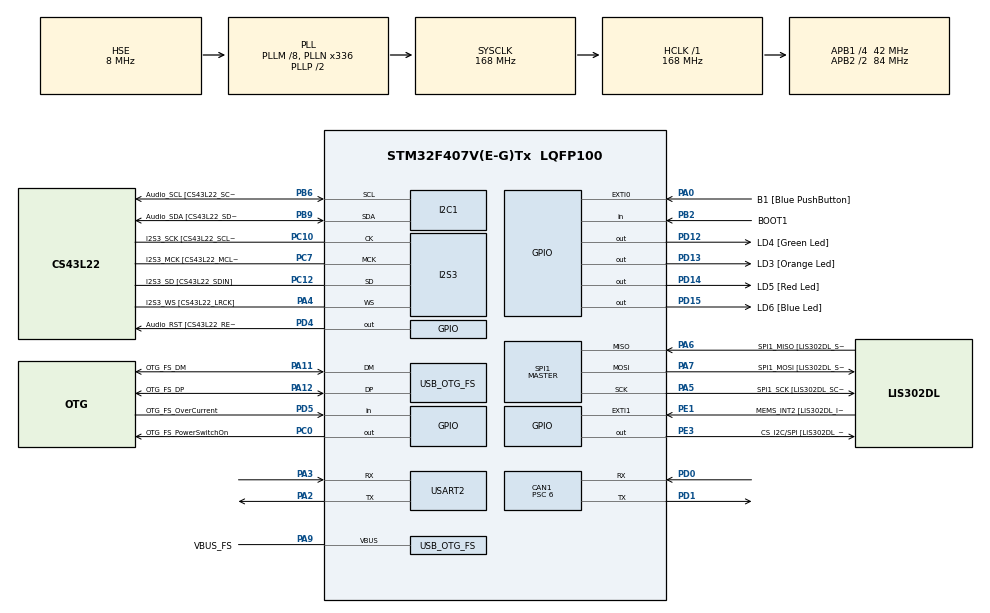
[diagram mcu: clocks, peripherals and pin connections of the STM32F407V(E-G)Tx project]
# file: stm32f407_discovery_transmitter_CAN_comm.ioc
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CAN1.BS1=CAN_BS1_11TQ
CAN1.BS2=CAN_BS2_2TQ
CAN1.CalculateBaudRate=500000
CAN1.CalculateTimeBit=2000
CAN1.CalculateTimeQuantum=142.85714285714286
CAN1.Prescaler=6
I2S3.AudioFreq-Half_Duplex_Master=I2S_AUDIOFREQ_96K
I2S3.ErrorAudioFreq=-2.34 %
I2S3.ErrorAudioFreq-Half_Duplex_Master=0.8 %
I2S3.FullDuplexMode=I2S_FULLDUPLEXMODE_DISABLE
I2S3.Instance=SPI$Index
I2S3.RealAudioFreq=93.75 KHz
I2S3.RealAudioFreq-Half_Duplex_Master=96.774 KHz
I2S3.VirtualMode=I2S_MODE_MASTER
Mcu.Family=STM32F4
Mcu.Name=STM32F407V(E-G)Tx
Mcu.Package=LQFP100
NVIC.OTG_FS_IRQn=true\:0\:0\:false\:false\:true\:true\:true\:true
NVIC.PriorityGroup=NVIC_PRIORITYGROUP_0
PA0-WKUP.GPIO_Label=B1 [Blue PushButton]
PA0-WKUP.GPIO_ModeDefaultEXTI=GPIO_MODE_EVT_RISING
PA0-WKUP.GPIO_PuPd=GPIO_NOPULL
PA0-WKUP.Signal=GPXTI0
PA10.GPIO_Label=OTG_FS_ID
PA10.GPIO_Mode=GPIO_MODE_AF_PP
PA10.GPIO_PuPd=GPIO_NOPULL
PA10.GPIO_Speed=GPIO_SPEED_FREQ_LOW
PA10.Signal=USB_OTG_FS_ID
PA11.GPIO_Label=OTG_FS_DM
PA11.GPIO_Mode=GPIO_MODE_AF_PP
PA11.GPIO_PuPd=GPIO_NOPULL
PA11.GPIO_Speed=GPIO_SPEED_FREQ_LOW
PA11.Mode=Host_Only
PA11.Signal=USB_OTG_FS_DM
PA12.GPIO_Label=OTG_FS_DP
PA12.GPIO_Mode=GPIO_MODE_AF_PP
PA12.GPIO_PuPd=GPIO_NOPULL
PA12.GPIO_Speed=GPIO_SPEED_FREQ_LOW
PA12.Mode=Host_Only
PA12.Signal=USB_OTG_FS_DP
PA13.GPIO_Label=SWDIO
PA13.Mode=Serial_Wire
PA13.Signal=SYS_JTMS-SWDIO
PA14.GPIO_Label=SWCLK
PA14.Mode=Serial_Wire
PA14.Signal=SYS_JTCK-SWCLK
PA2.Mode=Asynchronous
PA2.Signal=USART2_TX
PA3.Mode=Asynchronous
PA3.Signal=USART2_RX
PA4.GPIO_Label=I2S3_WS [CS43L22_LRCK]
PA4.GPIO_Mode=GPIO_MODE_AF_PP
PA4.GPIO_PuPd=GPIO_NOPULL
PA4.GPIO_Speed=GPIO_SPEED_FREQ_LOW
PA4.Mode=Half_Duplex_Master
PA4.Signal=I2S3_WS
PA5.GPIO_Label=SPI1_SCK [LIS302DL_SCL/SPC]
PA5.GPIO_Mode=GPIO_MODE_AF_PP
PA5.GPIO_PuPd=GPIO_NOPULL
PA5.GPIO_Speed=GPIO_SPEED_FREQ_LOW
PA5.Mode=Full_Duplex_Master
PA5.Signal=SPI1_SCK
PA6.GPIO_Label=SPI1_MISO [LIS302DL_SDO]
PA6.GPIO_Mode=GPIO_MODE_AF_PP
PA6.GPIO_PuPd=GPIO_NOPULL
PA6.GPIO_Speed=GPIO_SPEED_FREQ_LOW
PA6.Mode=Full_Duplex_Master
PA6.Signal=SPI1_MISO
PA7.GPIO_Label=SPI1_MOSI [LIS302DL_SDA/SDI/SDO]
PA7.GPIO_Mode=GPIO_MODE_AF_PP
PA7.GPIO_PuPd=GPIO_NOPULL
PA7.GPIO_Speed=GPIO_SPEED_FREQ_LOW
PA7.Mode=Full_Duplex_Master
PA7.Signal=SPI1_MOSI
PA9.GPIO_Label=VBUS_FS
PA9.GPIO_Mode=GPIO_MODE_INPUT
PA9.GPIO_PuPd=GPIO_NOPULL
PA9.Mode=Activate_VBUS
PA9.Signal=USB_OTG_FS_VBUS
PB10.GPIO_Label=CLK_IN [MP45DT02_CLK]
PB10.GPIO_Mode=GPIO_MODE_AF_PP
PB10.GPIO_PuPd=GPIO_NOPULL
PB10.GPIO_Speed=GPIO_SPEED_FREQ_LOW
PB10.Signal=I2S2_CK
PB2.GPIO_Label=BOOT1
PB2.GPIO_Mode=GPIO_MODE_INPUT
PB2.GPIO_PuPd=GPIO_NOPULL
PB2.Signal=GPIO_Input
PB3.GPIO_Label=SWO
PB3.Signal=SYS_JTDO-SWO
PB6.GPIO_Label=Audio_SCL [CS43L22_SCL]
PB6.GPIO_Mode=GPIO_MODE_AF_OD
PB6.GPIO_Pu=GPIO_PULLUP
PB6.GPIO_PuPd=GPIO_NOPULL
PB6.GPIO_Speed=GPIO_SPEED_FREQ_LOW
PB6.Mode=I2C
PB6.Signal=I2C1_SCL
PB9.GPIO_Label=Audio_SDA [CS43L22_SDA]
PB9.GPIO_Mode=GPIO_MODE_AF_OD
PB9.GPIO_Pu=GPIO_PULLUP
PB9.GPIO_PuPd=GPIO_NOPULL
PB9.GPIO_Speed=GPIO_SPEED_FREQ_LOW
PB9.Mode=I2C
PB9.Signal=I2C1_SDA
PC0.GPIO_Label=OTG_FS_PowerSwitchOn
PC0.GPIO_PuPd=GPIO_NOPULL
PC0.GPIO_Speed=GPIO_SPEED_FREQ_LOW
PC0.PinState=GPIO_PIN_SET
PC0.Signal=GPIO_Output
PC10.GPIO_Label=I2S3_SCK [CS43L22_SCLK]
PC10.GPIO_Mode=GPIO_MODE_AF_PP
PC10.GPIO_PuPd=GPIO_NOPULL
PC10.GPIO_Speed=GPIO_SPEED_FREQ_LOW
PC10.Mode=Half_Duplex_Master
PC10.Signal=I2S3_CK
PC12.GPIO_Label=I2S3_SD [CS43L22_SDIN]
PC12.GPIO_Mode=GPIO_MODE_AF_PP
PC12.GPIO_PuPd=GPIO_NOPULL
PC12.GPIO_Speed=GPIO_SPEED_FREQ_LOW
PC12.Mode=Half_Duplex_Master
PC12.Signal=I2S3_SD
PC14-OSC32_IN.GPIO_Label=PC14-OSC32_IN
PC14-OSC32_IN.Mode=LSE-External-Oscillator
PC14-OSC32_IN.Signal=RCC_OSC32_IN
PC15-OSC32_OUT.GPIO_Label=PC15-OSC32_OUT
PC15-OSC32_OUT.Mode=LSE-External-Oscillator
PC15-OSC32_OUT.Signal=RCC_OSC32_OUT
PC3.GPIO_Label=PDM_OUT [MP45DT02_DOUT]
PC3.GPIO_Mode=GPIO_MODE_AF_PP
PC3.GPIO_PuPd=GPIO_NOPULL
PC3.GPIO_Speed=GPIO_SPEED_FREQ_LOW
PC3.Signal=I2S2_SD
PC7.GPIO_Label=I2S3_MCK [CS43L22_MCLK]
PC7.GPIO_Mode=GPIO_MODE_AF_PP
PC7.GPIO_PuPd=GPIO_NOPULL
PC7.GPIO_Speed=GPIO_SPEED_FREQ_LOW
PC7.Mode=Master_Clock_Activated
PC7.Signal=I2S3_MCK
PD0.Mode=CAN_Activate
PD0.Signal=CAN1_RX
PD1.Mode=CAN_Activate
PD1.Signal=CAN1_TX
PD12.GPIO_Label=LD4 [Green Led]
PD12.GPIO_PuPd=GPIO_NOPULL
PD12.GPIO_Speed=GPIO_SPEED_FREQ_LOW
PD12.Signal=GPIO_Output
PD13.GPIO_Label=LD3 [Orange Led]
PD13.GPIO_PuPd=GPIO_NOPULL
PD13.GPIO_Speed=GPIO_SPEED_FREQ_LOW
PD13.Signal=GPIO_Output
PD14.GPIO_Label=LD5 [Red Led]
PD14.GPIO_PuPd=GPIO_NOPULL
PD14.GPIO_Speed=GPIO_SPEED_FREQ_LOW
PD14.Signal=GPIO_Output
PD15.GPIO_Label=LD6 [Blue Led]
PD15.GPIO_PuPd=GPIO_NOPULL
PD15.GPIO_Speed=GPIO_SPEED_FREQ_LOW
PD15.Signal=GPIO_Output
PD4.GPIO_Label=Audio_RST [CS43L22_RESET]
PD4.GPIO_PuPd=GPIO_NOPULL
PD4.GPIO_Speed=GPIO_SPEED_FREQ_LOW
PD4.Signal=GPIO_Output
PD5.GPIO_Label=OTG_FS_OverCurrent
PD5.GPIO_Mode=GPIO_MODE_INPUT
PD5.GPIO_PuPd=GPIO_NOPULL
PD5.Signal=GPIO_Input
PE1.GPIO_Label=MEMS_INT2 [LIS302DL_INT2]
PE1.GPIO_ModeDefaultEXTI=GPIO_MODE_EVT_RISING
PE1.GPIO_PuPd=GPIO_NOPULL
PE1.Signal=GPXTI1
PE3.GPIO_Label=CS_I2C/SPI [LIS302DL_CS_I2C/SPI]
PE3.GPIO_PuPd=GPIO_NOPULL
PE3.GPIO_Speed=GPIO_SPEED_FREQ_LOW
PE3.Signal=GPIO_Output
PH0-OSC_IN.GPIO_Label=PH0-OSC_IN
PH0-OSC_IN.Mode=HSE-External-Oscillator
PH0-OSC_IN.Signal=RCC_OSC_IN
PH1-OSC_OUT.GPIO_Label=PH1-OSC_OUT
PH1-OSC_OUT.Mode=HSE-External-Oscillator
PH1-OSC_OUT.Signal=RCC_OSC_OUT
ProjectManager.HeapSize=0x200
ProjectManager.StackSize=0x400
ProjectManager.TargetToolchain=STM32CubeIDE
RCC.48MHZClocksFreq_Value=48000000
RCC.AHBFreq_Value=168000000
RCC.APB1CLKDivider=RCC_HCLK_DIV4
RCC.APB1Freq_Value=42000000
RCC.APB1TimFreq_Value=84000000
RCC.APB2CLKDivider=RCC_HCLK_DIV2
RCC.APB2Freq_Value=84000000
RCC.APB2TimFreq_Value=168000000
RCC.CortexFreq_Value=168000000
RCC.HCLKFreq_Value=168000000
RCC.HSE_VALUE=8000000
RCC.HSI_VALUE=16000000
RCC.PLLM=8
RCC.PLLN=336
RCC.PLLQ=7
RCC.SYSCLKFreq_VALUE=168000000
RCC.SYSCLKSource=RCC_SYSCLKSOURCE_PLLCLK
RCC.VCOOutputFreq_Value=336000000
SPI1.BaudRatePrescaler-Full_Duplex_Master=SPI_BAUDRATEPRESCALER_2
SPI1.CalculateBaudRate-Full_Duplex_Master=42.0 MBits/s
SPI1.Direction=SPI_DIRECTION_2LINES
SPI1.Mode=SPI_MODE_MASTER
SPI1.Mode-Full_Duplex_Master=SPI_MODE_MASTER
SPI1.VirtualType=VM_MASTER
USART2.VirtualMode=VM_ASYNC
USB_HOST.BSP.number=1
USB_HOST.USBH_HandleTypeDef-CDC_FS=hUsbHostFS
USB_HOST.VirtualModeFS=Cdc
USB_HOST0.BSP.STBoard=false
USB_HOST0.BSP.api=Unknown
USB_HOST0.BSP.instance=PC0
USB_HOST0.BSP.ip=GPIO
USB_HOST0.BSP.mode=Output
USB_HOST0.BSP.name=Drive_VBUS_FS
USB_HOST0.BSP.solution=PC0
USB_OTG_FS.VirtualMode=Host_Only
USB_OTG_FS.phy_itface=HCD_PHY_EMBEDDED
VP_USB_HOST_VS_USB_HOST_CDC_FS.Mode=CDC_FS
board=STM32F407G-DISC1

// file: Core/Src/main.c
/* USER CODE BEGIN Header */
/**
  ******************************************************************************
  * @file           : main.c
  * @brief          : Main program body
  ******************************************************************************
  * @attention
  *
  * Copyright (c) 2026 STMicroelectronics.
  * All rights reserved.
  *
  * This software is licensed under terms that can be found in the LICENSE file
  * in the root directory of this software component.
  * If no LICENSE file comes with this software, it is provided AS-IS.
  *
  ******************************************************************************
  */
/* USER CODE END Header */
#include "main.h"
#include "usb_host.h"

/* USER CODE BEGIN Includes */
#include<stdio.h>
/* USER CODE END Includes */

CAN_HandleTypeDef hcan1;

I2C_HandleTypeDef hi2c1;

I2S_HandleTypeDef hi2s3;

SPI_HandleTypeDef hspi1;

UART_HandleTypeDef huart2;

void SystemClock_Config(void);
static void MX_GPIO_Init(void);
static void MX_I2C1_Init(void);
static void MX_I2S3_Init(void);
static void MX_SPI1_Init(void);
static void MX_CAN1_Init(void);
static void MX_USART2_UART_Init(void);
void MX_USB_HOST_Process(void);

int main(void)
{

  /* MCU Configuration--------------------------------------------------------*/

  /* Reset of all peripherals, Initializes the Flash interface and the Systick. */
  HAL_Init();

  /* Configure the system clock */
  SystemClock_Config();

  /* Initialize all configured peripherals */
  MX_GPIO_Init();
  MX_I2C1_Init();
  MX_I2S3_Init();
  MX_SPI1_Init();
  MX_USB_HOST_Init();
  MX_CAN1_Init();
  MX_USART2_UART_Init();
  /* USER CODE BEGIN 2 */
  CAN_TxHeaderTypeDef TxHeader;
  uint8_t TxData[8];
  uint32_t TxMailbox;

  CAN_FilterTypeDef sFilterConfig;

  sFilterConfig.FilterBank = 0;
  sFilterConfig.FilterMode = CAN_FILTERMODE_IDMASK;
  sFilterConfig.FilterScale = CAN_FILTERSCALE_32BIT;
  sFilterConfig.FilterIdHigh = 0x0000;
  sFilterConfig.FilterIdLow = 0x0000;
  sFilterConfig.FilterMaskIdHigh = 0x0000;
  sFilterConfig.FilterMaskIdLow = 0x0000;
  sFilterConfig.FilterFIFOAssignment = CAN_RX_FIFO0;
  sFilterConfig.FilterActivation = ENABLE;
  sFilterConfig.SlaveStartFilterBank = 14;

  HAL_CAN_ConfigFilter(&hcan1, &sFilterConfig);

  HAL_CAN_Start(&hcan1);

  printf("CAN Started Successfully\r\n");

  TxHeader.StdId = 0x123;
  TxHeader.ExtId = 0;
  TxHeader.RTR = CAN_RTR_DATA;
  TxHeader.IDE = CAN_ID_STD;
  TxHeader.DLC = 2;
  TxHeader.TransmitGlobalTime = DISABLE;
  /* USER CODE END 2 */

  /* Infinite loop */
  /* USER CODE BEGIN WHILE */
  while (1)
  {
	  printf("Sending CAN Frame 1...\r\n");
      char msg[] = "Progience";

      while (HAL_CAN_GetTxMailboxesFreeLevel(&hcan1) == 0);

      TxHeader.DLC = 8;

      if (HAL_CAN_AddTxMessage(&hcan1, &TxHeader, (uint8_t*)msg, &TxMailbox) == HAL_OK)
      {
          printf("Frame 1 Sent: Progienc\r\n");
      }
      else
      {
          printf("Frame 1 TX Failed\r\n");
      }

      HAL_Delay(5);

      while (HAL_CAN_GetTxMailboxesFreeLevel(&hcan1) == 0);

      TxHeader.DLC = 1;

      if (HAL_CAN_AddTxMessage(&hcan1, &TxHeader, (uint8_t*)&msg[8], &TxMailbox) == HAL_OK)
      {
          printf("Frame 2 Sent: e\r\n");
      }
      else
      {
          printf("Frame 2 TX Failed\r\n");
      }

      uint32_t error = HAL_CAN_GetError(&hcan1);
          if (error != HAL_CAN_ERROR_NONE)
          {
        	  printf("CAN Error: %lu\r\n", (unsigned long)error);
          }

      printf("-------------------------\r\n");

      HAL_Delay(1000);

    /* USER CODE END WHILE */
    MX_USB_HOST_Process();

  }
}

void SystemClock_Config(void)
{
  RCC_OscInitTypeDef RCC_OscInitStruct = {0};
  RCC_ClkInitTypeDef RCC_ClkInitStruct = {0};

  /** Configure the main internal regulator output voltage
  */
  __HAL_RCC_PWR_CLK_ENABLE();
  __HAL_PWR_VOLTAGESCALING_CONFIG(PWR_REGULATOR_VOLTAGE_SCALE1);

  /** Initializes the RCC Oscillators according to the specified parameters
  * in the RCC_OscInitTypeDef structure.
  */
  RCC_OscInitStruct.OscillatorType = RCC_OSCILLATORTYPE_HSE;
  RCC_OscInitStruct.HSEState = RCC_HSE_ON;
  RCC_OscInitStruct.PLL.PLLState = RCC_PLL_ON;
  RCC_OscInitStruct.PLL.PLLSource = RCC_PLLSOURCE_HSE;
  RCC_OscInitStruct.PLL.PLLM = 8;
  RCC_OscInitStruct.PLL.PLLN = 336;
  RCC_OscInitStruct.PLL.PLLP = RCC_PLLP_DIV2;
  RCC_OscInitStruct.PLL.PLLQ = 7;
  if (HAL_RCC_OscConfig(&RCC_OscInitStruct) != HAL_OK)
  {
    Error_Handler();
  }

  /** Initializes the CPU, AHB and APB buses clocks
  */
  RCC_ClkInitStruct.ClockType = RCC_CLOCKTYPE_HCLK|RCC_CLOCKTYPE_SYSCLK
                              |RCC_CLOCKTYPE_PCLK1|RCC_CLOCKTYPE_PCLK2;
  RCC_ClkInitStruct.SYSCLKSource = RCC_SYSCLKSOURCE_PLLCLK;
  RCC_ClkInitStruct.AHBCLKDivider = RCC_SYSCLK_DIV1;
  RCC_ClkInitStruct.APB1CLKDivider = RCC_HCLK_DIV4;
  RCC_ClkInitStruct.APB2CLKDivider = RCC_HCLK_DIV2;

  if (HAL_RCC_ClockConfig(&RCC_ClkInitStruct, FLASH_LATENCY_5) != HAL_OK)
  {
    Error_Handler();
  }
}

static void MX_CAN1_Init(void)
{

  hcan1.Instance = CAN1;
  hcan1.Init.Prescaler = 6;
  hcan1.Init.Mode = CAN_MODE_NORMAL;
  hcan1.Init.SyncJumpWidth = CAN_SJW_1TQ;
  hcan1.Init.TimeSeg1 = CAN_BS1_11TQ;
  hcan1.Init.TimeSeg2 = CAN_BS2_2TQ;
  hcan1.Init.TimeTriggeredMode = DISABLE;
  hcan1.Init.AutoBusOff = DISABLE;
  hcan1.Init.AutoWakeUp = DISABLE;
  hcan1.Init.AutoRetransmission = DISABLE;
  hcan1.Init.ReceiveFifoLocked = DISABLE;
  hcan1.Init.TransmitFifoPriority = DISABLE;
  if (HAL_CAN_Init(&hcan1) != HAL_OK)
  {
    Error_Handler();
  }

}

static void MX_I2C1_Init(void)
{

  hi2c1.Instance = I2C1;
  hi2c1.Init.ClockSpeed = 100000;
  hi2c1.Init.DutyCycle = I2C_DUTYCYCLE_2;
  hi2c1.Init.OwnAddress1 = 0;
  hi2c1.Init.AddressingMode = I2C_ADDRESSINGMODE_7BIT;
  hi2c1.Init.DualAddressMode = I2C_DUALADDRESS_DISABLE;
  hi2c1.Init.OwnAddress2 = 0;
  hi2c1.Init.GeneralCallMode = I2C_GENERALCALL_DISABLE;
  hi2c1.Init.NoStretchMode = I2C_NOSTRETCH_DISABLE;
  if (HAL_I2C_Init(&hi2c1) != HAL_OK)
  {
    Error_Handler();
  }

}

static void MX_I2S3_Init(void)
{

  hi2s3.Instance = SPI3;
  hi2s3.Init.Mode = I2S_MODE_MASTER_TX;
  hi2s3.Init.Standard = I2S_STANDARD_PHILIPS;
  hi2s3.Init.DataFormat = I2S_DATAFORMAT_16B;
  hi2s3.Init.MCLKOutput = I2S_MCLKOUTPUT_ENABLE;
  hi2s3.Init.AudioFreq = I2S_AUDIOFREQ_96K;
  hi2s3.Init.CPOL = I2S_CPOL_LOW;
  hi2s3.Init.ClockSource = I2S_CLOCK_PLL;
  hi2s3.Init.FullDuplexMode = I2S_FULLDUPLEXMODE_DISABLE;
  if (HAL_I2S_Init(&hi2s3) != HAL_OK)
  {
    Error_Handler();
  }

}

static void MX_SPI1_Init(void)
{

  /* SPI1 parameter configuration*/
  hspi1.Instance = SPI1;
  hspi1.Init.Mode = SPI_MODE_MASTER;
  hspi1.Init.Direction = SPI_DIRECTION_2LINES;
  hspi1.Init.DataSize = SPI_DATASIZE_8BIT;
  hspi1.Init.CLKPolarity = SPI_POLARITY_LOW;
  hspi1.Init.CLKPhase = SPI_PHASE_1EDGE;
  hspi1.Init.NSS = SPI_NSS_SOFT;
  hspi1.Init.BaudRatePrescaler = SPI_BAUDRATEPRESCALER_2;
  hspi1.Init.FirstBit = SPI_FIRSTBIT_MSB;
  hspi1.Init.TIMode = SPI_TIMODE_DISABLE;
  hspi1.Init.CRCCalculation = SPI_CRCCALCULATION_DISABLE;
  hspi1.Init.CRCPolynomial = 10;
  if (HAL_SPI_Init(&hspi1) != HAL_OK)
  {
    Error_Handler();
  }

}

static void MX_USART2_UART_Init(void)
{

  huart2.Instance = USART2;
  huart2.Init.BaudRate = 115200;
  huart2.Init.WordLength = UART_WORDLENGTH_8B;
  huart2.Init.StopBits = UART_STOPBITS_1;
  huart2.Init.Parity = UART_PARITY_NONE;
  huart2.Init.Mode = UART_MODE_TX_RX;
  huart2.Init.HwFlowCtl = UART_HWCONTROL_NONE;
  huart2.Init.OverSampling = UART_OVERSAMPLING_16;
  if (HAL_UART_Init(&huart2) != HAL_OK)
  {
    Error_Handler();
  }

}

static void MX_GPIO_Init(void)
{
  GPIO_InitTypeDef GPIO_InitStruct = {0};

  /* GPIO Ports Clock Enable */
  __HAL_RCC_GPIOE_CLK_ENABLE();
  __HAL_RCC_GPIOC_CLK_ENABLE();
  __HAL_RCC_GPIOH_CLK_ENABLE();
  __HAL_RCC_GPIOA_CLK_ENABLE();
  __HAL_RCC_GPIOB_CLK_ENABLE();
  __HAL_RCC_GPIOD_CLK_ENABLE();

  /*Configure GPIO pin Output Level */
  HAL_GPIO_WritePin(CS_I2C_SPI_GPIO_Port, CS_I2C_SPI_Pin, GPIO_PIN_RESET);

  /*Configure GPIO pin Output Level */
  HAL_GPIO_WritePin(OTG_FS_PowerSwitchOn_GPIO_Port, OTG_FS_PowerSwitchOn_Pin, GPIO_PIN_SET);

  /*Configure GPIO pin Output Level */
  HAL_GPIO_WritePin(GPIOD, LD4_Pin|LD3_Pin|LD5_Pin|LD6_Pin
                          |Audio_RST_Pin, GPIO_PIN_RESET);

  /*Configure GPIO pin : CS_I2C_SPI_Pin */
  GPIO_InitStruct.Pin = CS_I2C_SPI_Pin;
  GPIO_InitStruct.Mode = GPIO_MODE_OUTPUT_PP;
  GPIO_InitStruct.Pull = GPIO_NOPULL;
  GPIO_InitStruct.Speed = GPIO_SPEED_FREQ_LOW;
  HAL_GPIO_Init(CS_I2C_SPI_GPIO_Port, &GPIO_InitStruct);

  /*Configure GPIO pin : OTG_FS_PowerSwitchOn_Pin */
  GPIO_InitStruct.Pin = OTG_FS_PowerSwitchOn_Pin;
  GPIO_InitStruct.Mode = GPIO_MODE_OUTPUT_PP;
  GPIO_InitStruct.Pull = GPIO_NOPULL;
  GPIO_InitStruct.Speed = GPIO_SPEED_FREQ_LOW;
  HAL_GPIO_Init(OTG_FS_PowerSwitchOn_GPIO_Port, &GPIO_InitStruct);

  /*Configure GPIO pin : PDM_OUT_Pin */
  GPIO_InitStruct.Pin = PDM_OUT_Pin;
  GPIO_InitStruct.Mode = GPIO_MODE_AF_PP;
  GPIO_InitStruct.Pull = GPIO_NOPULL;
  GPIO_InitStruct.Speed = GPIO_SPEED_FREQ_LOW;
  GPIO_InitStruct.Alternate = GPIO_AF5_SPI2;
  HAL_GPIO_Init(PDM_OUT_GPIO_Port, &GPIO_InitStruct);

  /*Configure GPIO pin : B1_Pin */
  GPIO_InitStruct.Pin = B1_Pin;
  GPIO_InitStruct.Mode = GPIO_MODE_EVT_RISING;
  GPIO_InitStruct.Pull = GPIO_NOPULL;
  HAL_GPIO_Init(B1_GPIO_Port, &GPIO_InitStruct);

  /*Configure GPIO pin : BOOT1_Pin */
  GPIO_InitStruct.Pin = BOOT1_Pin;
  GPIO_InitStruct.Mode = GPIO_MODE_INPUT;
  GPIO_InitStruct.Pull = GPIO_NOPULL;
  HAL_GPIO_Init(BOOT1_GPIO_Port, &GPIO_InitStruct);

  /*Configure GPIO pin : CLK_IN_Pin */
  GPIO_InitStruct.Pin = CLK_IN_Pin;
  GPIO_InitStruct.Mode = GPIO_MODE_AF_PP;
  GPIO_InitStruct.Pull = GPIO_NOPULL;
  GPIO_InitStruct.Speed = GPIO_SPEED_FREQ_LOW;
  GPIO_InitStruct.Alternate = GPIO_AF5_SPI2;
  HAL_GPIO_Init(CLK_IN_GPIO_Port, &GPIO_InitStruct);

  /*Configure GPIO pins : LD4_Pin LD3_Pin LD5_Pin LD6_Pin
                           Audio_RST_Pin */
  GPIO_InitStruct.Pin = LD4_Pin|LD3_Pin|LD5_Pin|LD6_Pin
                          |Audio_RST_Pin;
  GPIO_InitStruct.Mode = GPIO_MODE_OUTPUT_PP;
  GPIO_InitStruct.Pull = GPIO_NOPULL;
  GPIO_InitStruct.Speed = GPIO_SPEED_FREQ_LOW;
  HAL_GPIO_Init(GPIOD, &GPIO_InitStruct);

  /*Configure GPIO pin : OTG_FS_OverCurrent_Pin */
  GPIO_InitStruct.Pin = OTG_FS_OverCurrent_Pin;
  GPIO_InitStruct.Mode = GPIO_MODE_INPUT;
  GPIO_InitStruct.Pull = GPIO_NOPULL;
  HAL_GPIO_Init(OTG_FS_OverCurrent_GPIO_Port, &GPIO_InitStruct);

  /*Configure GPIO pin : MEMS_INT2_Pin */
  GPIO_InitStruct.Pin = MEMS_INT2_Pin;
  GPIO_InitStruct.Mode = GPIO_MODE_EVT_RISING;
  GPIO_InitStruct.Pull = GPIO_NOPULL;
  HAL_GPIO_Init(MEMS_INT2_GPIO_Port, &GPIO_InitStruct);

}

/* USER CODE BEGIN 4 */
int _write(int file, char *ptr, int len)
{
    HAL_UART_Transmit(&huart2, (uint8_t*)ptr, len, HAL_MAX_DELAY);
    return len;
}

/* USER CODE END 4 */

void Error_Handler(void)
{
  __disable_irq();
  while (1)
  {
  }
}
